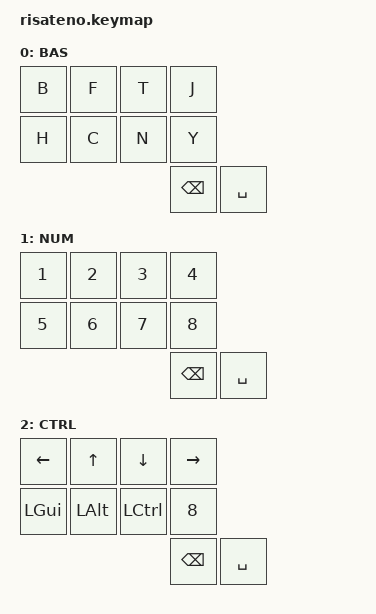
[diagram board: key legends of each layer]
/*
 * Copyright (c) 2020 The ZMK Contributors
 *
 * SPDX-License-Identifier: MIT
 */

#include <behaviors.dtsi>
#include <dt-bindings/zmk/keys.h>
#include <dt-bindings/zmk/bt.h>

/ {
    keymap {
        compatible = "zmk,keymap";

        default_layer {
            display-name = "BAS";
            bindings = <
                &kp B   &kp F   &kp T   &kp J
                &kp H   &kp C   &kp N   &kp Y
                                        &kp BSPC   &kp SPACE
            >;
        };

        number_layer {
            display-name = "NUM";
                bindings = <
                &kp N1   &kp N2   &kp N3   &kp N4
                &kp N5   &kp N6   &kp N7   &kp N8
                                  &kp BSPC &kp SPACE
                >;
        };

        ctrl_layer {
            display-name = "CTRL";
                bindings = <
                   &kp LEFT     &kp UP       &kp DOWN     &kp RIGHT
                   &kp LGUI     &kp LALT     &kp LCTRL    &kp N8
                                             &kp BSPC     &kp SPACE
                >;
        };
        
        extra_1 {
            status = "reserved";
        };

        extra_2 {
            status = "reserved";
        };

        extra_3 {
            status = "reserved";
        };
    };
};
